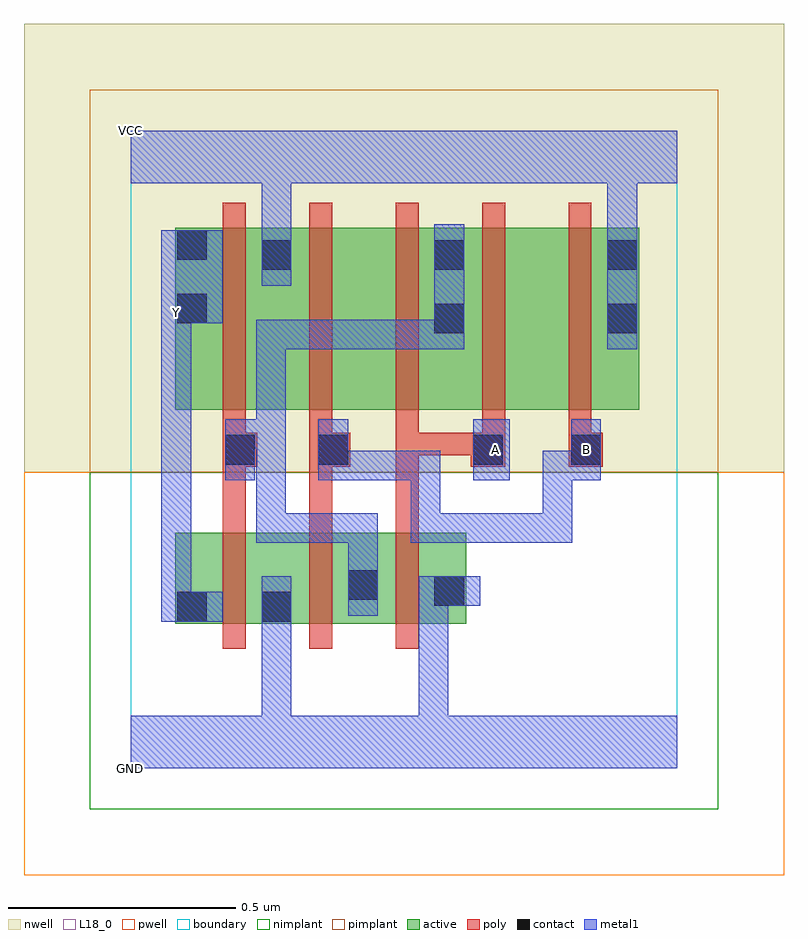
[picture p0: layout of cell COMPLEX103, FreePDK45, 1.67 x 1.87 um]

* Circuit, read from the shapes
.subckt COMPLEX103 A B GND VCC Y
M1 GND n1 Y VSUBS nfet w=0.2u l=0.05u
M2 n1 B GND VSUBS nfet w=0.2u l=0.05u
M3 GND A n1 VSUBS nfet w=0.2u l=0.05u
M4 VCC n1 Y n2 pfet w=0.4u l=0.05u
M5 n3 B VCC n2 pfet w=0.4u l=0.05u
M6 n1 A n3 n2 pfet w=0.4u l=0.05u
M7 n4 A n1 n2 pfet w=0.4u l=0.05u
M8 VCC B n4 n2 pfet w=0.4u l=0.05u
.ends

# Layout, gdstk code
import gdstk
lib = gdstk.Library(unit=1e-6, precision=1e-09)
def R(c, l, rs):  # rectangles x0, y0, x1, y1
    for r in rs: c.add(gdstk.rectangle(r[:2], r[2:], *l))
def A(c, l, x, y, w, h, nx, ny, dx, dy):  # array of equal rectangles
    R(c, l, [(x+i*dx, y+j*dy, x+i*dx+w, y+j*dy+h) for i in range(nx) for j in range(ny)])
active = (1, 0)
pwell = (2, 0)
nwell = (3, 0)
nimplant = (4, 0)
pimplant = (5, 0)
poly = (9, 0)
contact = (10, 0)
metal1 = (11, 0)
L18_0 = (18, 0)
boundary = (235, 0)

complex103 = lib.new_cell('COMPLEX103')
R(complex103, active, [(0.097,0.317,0.172,0.517), (0.097,0.317,0.357,0.517), (0.282,0.317,0.547,0.517), (0.282,0.317,0.357,0.392), (0.472,0.317,0.547,0.517), (0.472,0.317,0.737,0.517), (0.662,0.317,0.737,0.517), (0.097,0.787,0.172,1.187), (0.097,0.787,0.357,1.187), (0.282,0.787,0.512,1.187), (0.282,0.787,0.357,1.187), (0.512,0.787,0.737,1.187), (0.662,0.787,0.892,1.187), (0.892,0.787,1.117,1.187), (1.042,0.787,1.117,1.165), (0.662,0.907,0.737,1.165)])
R(complex103, pwell, [(-0.235,-0.235,1.435,0.65)])
R(complex103, nwell, [(-0.235,0.65,1.435,1.635)])
R(complex103, nimplant, [(-0.09,-0.09,1.29,0.65)])
R(complex103, pimplant, [(-0.09,0.65,1.29,1.49)])
A(complex103, poly, 0.202, 0.262, 0.05, 0.31, 3, 1, 0.19, 0)
A(complex103, poly, 0.202, 0.687, 0.05, 0.095, 5, 1, 0.19, 0)
A(complex103, poly, 0.202, 0.732, 0.05, 0.51, 5, 1, 0.19, 0)
R(complex103, poly, [(0.202,0.522,0.252,0.712), (0.392,0.522,0.442,0.712), (0.582,0.522,0.632,0.737), (0.202,0.662,0.277,0.737), (0.392,0.662,0.482,0.737), (0.747,0.662,0.822,0.737), (0.962,0.662,1.037,0.737), (0.582,0.687,0.632,0.737), (0.582,0.687,0.797,0.737), (0.747,0.687,0.797,0.737), (0.747,0.687,0.797,0.737)])
A(complex103, contact, 0.287, 1.095, 0.065, 0.065, 3, 1, 0.38, 0)
R(complex103, contact, [(0.102,0.322,0.167,0.387), (0.287,0.322,0.352,0.387), (0.667,0.357,0.732,0.422), (0.477,0.37,0.542,0.435), (0.207,0.667,0.272,0.732), (0.412,0.667,0.477,0.732), (0.752,0.667,0.817,0.732), (0.967,0.667,1.032,0.732), (0.667,0.955,0.732,1.02), (1.047,0.955,1.112,1.02), (0.102,0.977,0.167,1.042), (0.102,1.117,0.167,1.182)])
R(complex103, metal1, [(0,0,1.2,0.115), (0.287,0.05,0.352,0.115), (0.287,0.05,0.352,0.115), (0.287,0.05,0.352,0.115), (0.287,0.05,0.352,0.115), (0.287,0.05,0.352,0.352), (0.632,0.05,0.697,0.422), (0.287,0.287,0.352,0.422), (0.067,0.322,0.202,0.387), (0.067,0.322,0.132,0.997), (0.477,0.335,0.542,0.47), (0.632,0.357,0.697,0.422), (0.632,0.357,0.697,0.422), (0.632,0.357,0.697,0.422), (0.632,0.357,0.697,0.422), (0.632,0.357,0.767,0.422), (0.477,0.405,0.542,0.47), (0.477,0.405,0.542,0.56), (0.275,0.495,0.34,0.56), (0.275,0.495,0.542,0.56), (0.275,0.495,0.34,0.767), (0.615,0.495,0.68,0.56), (0.615,0.495,0.68,0.697), (0.615,0.495,0.895,0.56), (0.83,0.495,0.895,0.56), (0.83,0.495,0.97,0.56), (0.905,0.495,0.97,0.56), (0.905,0.495,0.97,0.697), (0.207,0.632,0.272,0.767), (0.412,0.632,0.477,0.697), (0.412,0.632,0.477,0.697), (0.412,0.632,0.477,0.767), (0.412,0.632,0.68,0.697), (0.615,0.632,0.68,0.697), (0.615,0.632,0.68,0.697), (0.615,0.632,0.68,0.697), (0.752,0.632,0.832,0.767), (0.905,0.632,0.97,0.697), (0.905,0.632,1.032,0.697), (0.967,0.632,1.032,0.767), (0.207,0.702,0.34,0.767), (0.275,0.702,0.34,0.767), (0.275,0.702,0.34,0.985), (0.275,0.92,0.34,0.985), (0.275,0.92,0.542,0.985), (0.477,0.92,0.542,0.985), (0.477,0.92,0.542,0.985), (0.477,0.92,0.542,0.985), (0.477,0.92,0.68,0.985), (0.615,0.92,0.68,0.985), (0.615,0.92,0.732,0.985), (0.667,0.92,0.732,1.195), (1.047,0.92,1.112,1.195), (0.067,0.932,0.132,1.067), (0.067,0.977,0.132,1.042), (0.067,0.977,0.202,1.182), (0.287,1.06,0.352,1.195), (0.287,1.13,0.352,1.35), (1.047,1.13,1.112,1.35), (0,1.285,1.2,1.4), (0.287,1.285,0.352,1.35), (0.287,1.285,0.352,1.35), (1.047,1.285,1.112,1.35), (1.047,1.285,1.112,1.35)])
R(complex103, L18_0, [(0,0,1.2,0.115), (0.287,0.05,0.352,0.115), (0.287,0.05,0.352,0.115), (0.287,0.05,0.352,0.115), (0.287,0.05,0.352,0.115), (0.287,0.05,0.352,0.352), (0.632,0.05,0.697,0.422), (0.287,0.287,0.352,0.422), (0.067,0.322,0.202,0.387), (0.067,0.322,0.132,0.997), (0.632,0.357,0.767,0.422), (0.632,0.357,0.697,0.422), (0.632,0.357,0.697,0.422), (0.632,0.357,0.697,0.422), (0.632,0.357,0.697,0.422), (0.615,0.495,0.68,0.56), (0.615,0.495,0.68,0.697), (0.615,0.495,0.895,0.56), (0.83,0.495,0.895,0.56), (0.83,0.495,0.97,0.56), (0.905,0.495,0.97,0.56), (0.905,0.495,0.97,0.697), (0.412,0.632,0.477,0.767), (0.412,0.632,0.477,0.697), (0.412,0.632,0.477,0.697), (0.412,0.632,0.68,0.697), (0.615,0.632,0.68,0.697), (0.615,0.632,0.68,0.697), (0.615,0.632,0.68,0.697), (0.752,0.632,0.832,0.767), (0.905,0.632,0.97,0.697), (0.905,0.632,1.032,0.697), (0.967,0.632,1.032,0.767), (0.767,0.667,0.832,0.732), (0.967,0.667,1.032,0.732), (1.047,0.92,1.112,1.195), (0.067,0.932,0.132,1.067), (0.067,0.967,0.132,1.032), (0.067,0.977,0.202,1.182), (0.067,0.977,0.132,1.042), (0.287,1.06,0.352,1.195), (0.287,1.13,0.352,1.35), (1.047,1.13,1.112,1.35), (0,1.285,1.2,1.4), (0.287,1.285,0.352,1.35), (0.287,1.285,0.352,1.35), (1.047,1.285,1.112,1.35), (1.047,1.285,1.112,1.35)])
R(complex103, boundary, [(0,0,1.2,1.4)])
complex103.add(gdstk.Label('A', (0.8,0.7), layer=11, texttype=0))
complex103.add(gdstk.Label('B', (1,0.7), layer=11, texttype=0))
complex103.add(gdstk.Label('Y', (0.1,1), layer=11, texttype=0))
complex103.add(gdstk.Label('VCC', (0,1.4), layer=11, texttype=0))
complex103.add(gdstk.Label('GND', (0,0), layer=11, texttype=0))

lib.write_gds('COMPLEX103.gds')
